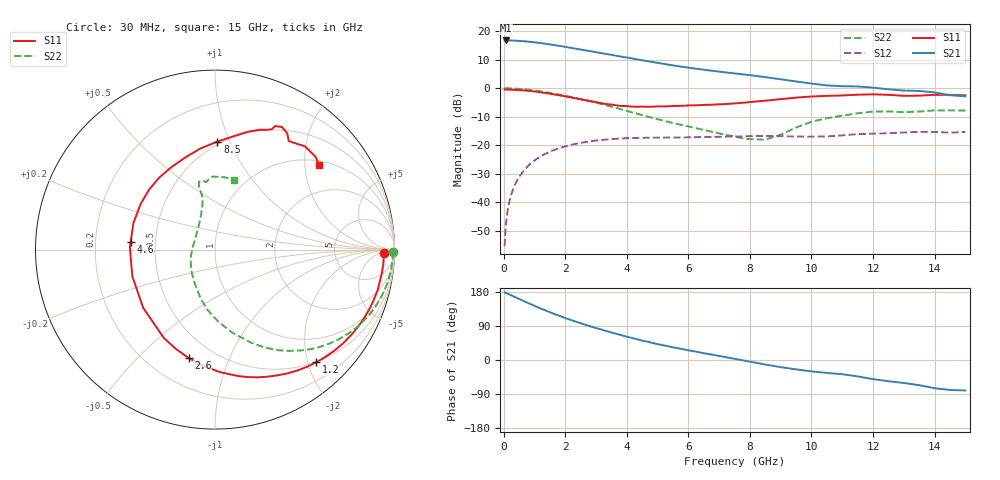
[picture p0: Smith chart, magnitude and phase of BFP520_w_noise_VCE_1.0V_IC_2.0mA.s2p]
! Infineon Technologies  Discrete & RF Semiconductors
! BFP520
! VCE =  1.0 V,  IC =  2.0 mA
! Common Emitter S-Parameters:  Oct 2015
# GHz  S  MA  R  50
!  f  S11  S21  S12  S22
! GHz  MAG  ANG  MAG  ANG  MAG  ANG  MAG  ANG
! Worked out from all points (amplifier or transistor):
!   109 points, 30 MHz to 15 GHz, reference 50 ohm
!   highest |S21| = 16.7 dB at 70 MHz (marker M1)
!   |S21| within 3 dB of that: start of sweep to 2.414 GHz
!   unconditionally stable (mu >= 1): 5.006 GHz to end of sweep
!   at 450 MHz: K = 0.05, MSG = 24.3 dB, |S12| = -32.1 dB
!   at 4 GHz: K = 0.78, MSG = 14.1 dB, |S12| = -17.5 dB
!   at 15 GHz: K = 1.67, MAG = 1.4 dB, |S12| = -15.4 dB
!   lowest NFmin = 0.94 dB at 900 MHz
!   S11 on the Smith chart (normalised r, x): 30 MHz: 30, -10; 1.2 GHz: 0.49, -2.15; 2.6 GHz: 0.36, -0.72; 4.6 GHz: 0.36, +0.04; 8.5 GHz: 0.48, +0.90; 15 GHz: 1.12, +2.38
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0.03  0.9416 -1.2  6.825 178.8  0.0017 87.1  0.9906 -0.8
0.07  0.9421 -2.7  6.833 176.9  0.0038 88.7  0.9913 -1.9
0.14  0.9415 -5.6  6.829 174.7  0.0078 87.6  0.9901 -3.8
0.25  0.9362 -10.0  6.813 170.6  0.0138 84.8  0.9865 -6.9
0.6  0.9161 -24.0  6.659 157.5  0.033 76.7  0.9616 -16.4
0.9  0.8849 -36.0  6.434 146.6  0.0489 69.6  0.9253 -24.4
1.2  0.8441 -48.0  6.146 136.0  0.0637 62.7  0.8792 -32.0
1.5  0.7979 -60.0  5.83 126.1  0.0769 56.0  0.8273 -39.1
1.8  0.7489 -71.9  5.496 116.8  0.0885 49.7  0.7722 -45.7
2.2  0.6827 -87.8  5.055 105.2  0.1017 41.9  0.6985 -53.9
2.6  0.6217 -103.7  4.642 94.3  0.1122 34.7  0.6258 -61.5
3  0.5689 -120.1  4.263 84.2  0.1206 28.2  0.5552 -68.9
3.5  0.5151 -140.9  3.829 72.4  0.1283 20.5  0.4732 -78.2
4  0.484 -162.1  3.434 61.4  0.1329 13.7  0.3987 -87.8
4.6  0.472 175.1  3.011 49.5  0.1351 6.8  0.3254 -99.0
5.1  0.4774 159.2  2.711 40.3  0.1356 2.2  0.2764 -107.6
6  0.4964 137.8  2.281 25.6  0.1374 -4.3  0.2129 -123.1
7.6  0.5438 106.0  1.783 1.7  0.1423 -14.4  0.1381 -165.3
8.5  0.602 88.7  1.556 -12.0  0.1446 -20.5  0.1248 153.2
10.5  0.731 66.0  1.115 -34.1  0.1422 -28.5  0.297 103.3
13  0.7319 55.9  0.906 -60.7  0.1663 -42.6  0.3789 97.4
15  0.7478 38.9  0.717 -80.4  0.1705 -55.6  0.405 74.5
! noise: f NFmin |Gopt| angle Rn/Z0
0.45  0.96  0.67  4  0.42
0.9  0.94  0.62  13  0.44
1.9  1.27  0.51  28  0.36
2.4  1.35  0.47  39  0.35
3.5  1.32  0.46  64  0.31
